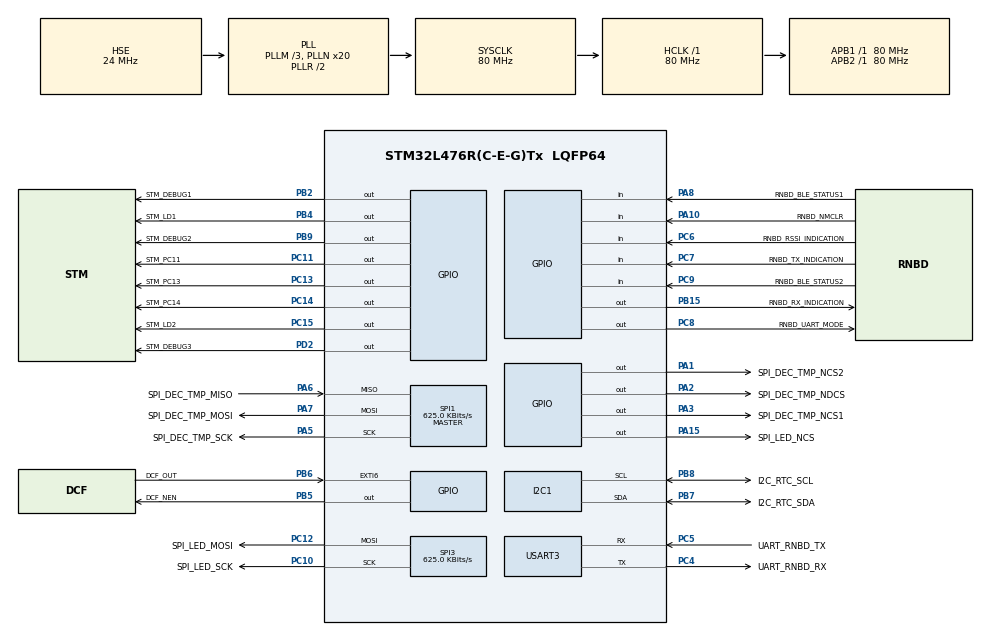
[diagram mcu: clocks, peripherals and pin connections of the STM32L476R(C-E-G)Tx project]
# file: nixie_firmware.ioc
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Dma.I2C1_RX.1.Direction=DMA_PERIPH_TO_MEMORY
Dma.I2C1_RX.1.Instance=DMA1_Channel7
Dma.I2C1_RX.1.MemDataAlignment=DMA_MDATAALIGN_BYTE
Dma.I2C1_RX.1.MemInc=DMA_MINC_ENABLE
Dma.I2C1_RX.1.Mode=DMA_NORMAL
Dma.I2C1_RX.1.PeriphDataAlignment=DMA_PDATAALIGN_BYTE
Dma.I2C1_RX.1.PeriphInc=DMA_PINC_DISABLE
Dma.I2C1_RX.1.Priority=DMA_PRIORITY_VERY_HIGH
Dma.I2C1_TX.0.Direction=DMA_MEMORY_TO_PERIPH
Dma.I2C1_TX.0.Instance=DMA1_Channel6
Dma.I2C1_TX.0.MemDataAlignment=DMA_MDATAALIGN_BYTE
Dma.I2C1_TX.0.MemInc=DMA_MINC_ENABLE
Dma.I2C1_TX.0.Mode=DMA_NORMAL
Dma.I2C1_TX.0.PeriphDataAlignment=DMA_PDATAALIGN_BYTE
Dma.I2C1_TX.0.PeriphInc=DMA_PINC_DISABLE
Dma.I2C1_TX.0.Priority=DMA_PRIORITY_VERY_HIGH
Dma.Request0=I2C1_TX
Dma.Request1=I2C1_RX
Dma.Request2=SPI1_TX
Dma.Request3=SPI1_RX
Dma.Request4=SPI3_TX
Dma.Request5=USART3_TX
Dma.Request6=USART3_RX
Dma.SPI1_RX.3.Direction=DMA_PERIPH_TO_MEMORY
Dma.SPI1_RX.3.Instance=DMA2_Channel3
Dma.SPI1_RX.3.MemDataAlignment=DMA_MDATAALIGN_HALFWORD
Dma.SPI1_RX.3.MemInc=DMA_MINC_ENABLE
Dma.SPI1_RX.3.Mode=DMA_NORMAL
Dma.SPI1_RX.3.PeriphDataAlignment=DMA_PDATAALIGN_HALFWORD
Dma.SPI1_RX.3.PeriphInc=DMA_PINC_DISABLE
Dma.SPI1_RX.3.Priority=DMA_PRIORITY_MEDIUM
Dma.SPI1_TX.2.Direction=DMA_MEMORY_TO_PERIPH
Dma.SPI1_TX.2.Instance=DMA2_Channel4
Dma.SPI1_TX.2.MemDataAlignment=DMA_MDATAALIGN_HALFWORD
Dma.SPI1_TX.2.MemInc=DMA_MINC_ENABLE
Dma.SPI1_TX.2.Mode=DMA_NORMAL
Dma.SPI1_TX.2.PeriphDataAlignment=DMA_PDATAALIGN_HALFWORD
Dma.SPI1_TX.2.PeriphInc=DMA_PINC_DISABLE
Dma.SPI1_TX.2.Priority=DMA_PRIORITY_MEDIUM
Dma.SPI3_TX.4.Direction=DMA_MEMORY_TO_PERIPH
Dma.SPI3_TX.4.Instance=DMA2_Channel2
Dma.SPI3_TX.4.MemDataAlignment=DMA_MDATAALIGN_BYTE
Dma.SPI3_TX.4.MemInc=DMA_MINC_ENABLE
Dma.SPI3_TX.4.Mode=DMA_NORMAL
Dma.SPI3_TX.4.PeriphDataAlignment=DMA_PDATAALIGN_BYTE
Dma.SPI3_TX.4.PeriphInc=DMA_PINC_DISABLE
Dma.SPI3_TX.4.Priority=DMA_PRIORITY_VERY_HIGH
Dma.USART3_RX.6.Direction=DMA_PERIPH_TO_MEMORY
Dma.USART3_RX.6.Instance=DMA1_Channel3
Dma.USART3_RX.6.MemDataAlignment=DMA_MDATAALIGN_BYTE
Dma.USART3_RX.6.MemInc=DMA_MINC_ENABLE
Dma.USART3_RX.6.Mode=DMA_NORMAL
Dma.USART3_RX.6.PeriphDataAlignment=DMA_PDATAALIGN_BYTE
Dma.USART3_RX.6.PeriphInc=DMA_PINC_DISABLE
Dma.USART3_RX.6.Priority=DMA_PRIORITY_VERY_HIGH
Dma.USART3_TX.5.Direction=DMA_MEMORY_TO_PERIPH
Dma.USART3_TX.5.Instance=DMA1_Channel2
Dma.USART3_TX.5.MemDataAlignment=DMA_MDATAALIGN_BYTE
Dma.USART3_TX.5.MemInc=DMA_MINC_ENABLE
Dma.USART3_TX.5.Mode=DMA_NORMAL
Dma.USART3_TX.5.PeriphDataAlignment=DMA_PDATAALIGN_BYTE
Dma.USART3_TX.5.PeriphInc=DMA_PINC_DISABLE
Dma.USART3_TX.5.Priority=DMA_PRIORITY_VERY_HIGH
I2C1.Speed=50
I2C1.Timing=0x306188FF
Mcu.Family=STM32L4
Mcu.Name=STM32L476R(C-E-G)Tx
Mcu.Package=LQFP64
NVIC.DMA1_Channel2_IRQn=true\:0\:0\:false\:false\:true\:false\:true\:true
NVIC.DMA1_Channel3_IRQn=true\:0\:0\:false\:false\:true\:false\:true\:true
NVIC.DMA1_Channel6_IRQn=true\:0\:0\:false\:false\:true\:false\:true\:true
NVIC.DMA1_Channel7_IRQn=true\:0\:0\:false\:false\:true\:false\:true\:true
NVIC.DMA2_Channel2_IRQn=true\:0\:0\:false\:false\:true\:false\:true\:true
NVIC.DMA2_Channel3_IRQn=true\:0\:0\:false\:false\:true\:false\:true\:true
NVIC.DMA2_Channel4_IRQn=true\:0\:0\:false\:false\:true\:false\:true\:true
NVIC.EXTI9_5_IRQn=true\:0\:0\:false\:false\:true\:true\:true\:false
NVIC.I2C1_EV_IRQn=true\:0\:0\:false\:false\:true\:true\:true\:true
NVIC.PriorityGroup=NVIC_PRIORITYGROUP_4
NVIC.SPI1_IRQn=true\:0\:0\:false\:false\:true\:true\:true\:true
NVIC.SPI3_IRQn=true\:0\:0\:false\:false\:true\:true\:true\:true
NVIC.TIM1_UP_TIM16_IRQn=true\:0\:0\:false\:false\:true\:true\:true\:true
NVIC.TIM2_IRQn=true\:0\:0\:false\:false\:true\:true\:true\:true
NVIC.USART3_IRQn=true\:0\:0\:false\:false\:true\:true\:true\:true
PA1.GPIO_Label=SPI_DEC_TMP_NCS2
PA1.GPIO_Speed=GPIO_SPEED_FREQ_VERY_HIGH
PA1.PinState=GPIO_PIN_SET
PA1.Signal=GPIO_Output
PA10.GPIO_Label=RNBD_NMCLR
PA10.Signal=GPIO_Input
PA13\ (JTMS-SWDIO).GPIO_Label=STM_SWDIO
PA13\ (JTMS-SWDIO).Mode=Trace_Asynchronous_SW
PA13\ (JTMS-SWDIO).Signal=SYS_JTMS-SWDIO
PA14\ (JTCK-SWCLK).GPIO_Label=STM_SWCLK
PA14\ (JTCK-SWCLK).Mode=Trace_Asynchronous_SW
PA14\ (JTCK-SWCLK).Signal=SYS_JTCK-SWCLK
PA15\ (JTDI).GPIO_Label=SPI_LED_NCS
PA15\ (JTDI).GPIO_Speed=GPIO_SPEED_FREQ_VERY_HIGH
PA15\ (JTDI).PinState=GPIO_PIN_SET
PA15\ (JTDI).Signal=GPIO_Output
PA2.GPIO_Label=SPI_DEC_TMP_NDCS
PA2.GPIO_Speed=GPIO_SPEED_FREQ_VERY_HIGH
PA2.PinState=GPIO_PIN_SET
PA2.Signal=GPIO_Output
PA3.GPIO_Label=SPI_DEC_TMP_NCS1
PA3.GPIO_Speed=GPIO_SPEED_FREQ_VERY_HIGH
PA3.PinState=GPIO_PIN_SET
PA3.Signal=GPIO_Output
PA5.GPIO_Label=SPI_DEC_TMP_SCK
PA5.Mode=Full_Duplex_Master
PA5.Signal=SPI1_SCK
PA6.GPIO_Label=SPI_DEC_TMP_MISO
PA6.Mode=Full_Duplex_Master
PA6.Signal=SPI1_MISO
PA7.GPIO_Label=SPI_DEC_TMP_MOSI
PA7.Mode=Full_Duplex_Master
PA7.Signal=SPI1_MOSI
PA8.GPIO_Label=RNBD_BLE_STATUS1
PA8.Signal=GPIO_Input
PB15.GPIO_Label=RNBD_RX_INDICATION
PB15.GPIO_Speed=GPIO_SPEED_FREQ_VERY_HIGH
PB15.PinState=GPIO_PIN_SET
PB15.Signal=GPIO_Output
PB2.GPIO_Label=STM_DEBUG1
PB2.GPIO_Speed=GPIO_SPEED_FREQ_VERY_HIGH
PB2.Signal=GPIO_Output
PB3\ (JTDO-TRACESWO).GPIO_Label=STM_SWO
PB3\ (JTDO-TRACESWO).Mode=Trace_Asynchronous_SW
PB3\ (JTDO-TRACESWO).Signal=SYS_JTDO-SWO
PB4\ (NJTRST).GPIO_Label=STM_LD1
PB4\ (NJTRST).GPIO_Speed=GPIO_SPEED_FREQ_VERY_HIGH
PB4\ (NJTRST).PinState=GPIO_PIN_RESET
PB4\ (NJTRST).Signal=GPIO_Output
PB5.GPIO_Label=DCF_NEN
PB5.GPIO_Speed=GPIO_SPEED_FREQ_VERY_HIGH
PB5.Signal=GPIO_Output
PB6.GPIO_Label=DCF_OUT
PB6.GPIO_ModeDefaultEXTI=GPIO_MODE_IT_RISING_FALLING
PB6.Signal=GPXTI6
PB7.GPIO_Label=I2C_RTC_SDA
PB7.Mode=I2C
PB7.Signal=I2C1_SDA
PB8.GPIO_Label=I2C_RTC_SCL
PB8.Mode=I2C
PB8.Signal=I2C1_SCL
PB9.GPIO_Label=STM_DEBUG2
PB9.GPIO_Speed=GPIO_SPEED_FREQ_VERY_HIGH
PB9.Signal=GPIO_Output
PC10.GPIO_Label=SPI_LED_SCK
PC10.Mode=TX_Only_Simplex_Unidirect_Master
PC10.Signal=SPI3_SCK
PC11.GPIO_Label=STM_PC11
PC11.GPIO_Speed=GPIO_SPEED_FREQ_VERY_HIGH
PC11.Signal=GPIO_Output
PC12.GPIO_Label=SPI_LED_MOSI
PC12.Mode=TX_Only_Simplex_Unidirect_Master
PC12.Signal=SPI3_MOSI
PC13.GPIO_Label=STM_PC13
PC13.Signal=GPIO_Output
PC14-OSC32_IN\ (PC14).GPIO_Label=STM_PC14
PC14-OSC32_IN\ (PC14).GPIO_Speed=GPIO_SPEED_FREQ_LOW
PC14-OSC32_IN\ (PC14).Signal=GPIO_Output
PC15-OSC32_OUT\ (PC15).GPIO_Label=STM_LD2
PC15-OSC32_OUT\ (PC15).Signal=GPIO_Output
PC4.GPIO_Label=UART_RNBD_RX
PC4.GPIO_PuPd=GPIO_NOPULL
PC4.GPIO_Speed=GPIO_SPEED_FREQ_MEDIUM
PC4.Mode=Asynchronous
PC4.Signal=USART3_TX
PC5.GPIO_Label=UART_RNBD_TX
PC5.GPIO_PuPd=GPIO_NOPULL
PC5.GPIO_Speed=GPIO_SPEED_FREQ_MEDIUM
PC5.Mode=Asynchronous
PC5.Signal=USART3_RX
PC6.GPIO_Label=RNBD_RSSI_INDICATION
PC6.Signal=GPIO_Input
PC7.GPIO_Label=RNBD_TX_INDICATION
PC7.Signal=GPIO_Input
PC8.GPIO_Label=RNBD_UART_MODE
PC8.GPIO_Speed=GPIO_SPEED_FREQ_VERY_HIGH
PC8.PinState=GPIO_PIN_SET
PC8.Signal=GPIO_Output
PC9.GPIO_Label=RNBD_BLE_STATUS2
PC9.Signal=GPIO_Input
PD2.GPIO_Label=STM_DEBUG3
PD2.GPIO_Speed=GPIO_SPEED_FREQ_VERY_HIGH
PD2.Signal=GPIO_Output
PH0-OSC_IN\ (PH0).GPIO_Label=STM_HSE_IN
PH0-OSC_IN\ (PH0).Mode=HSE-External-Oscillator
PH0-OSC_IN\ (PH0).Signal=RCC_OSC_IN
PH1-OSC_OUT\ (PH1).GPIO_Label=STM_HSE_OUT
PH1-OSC_OUT\ (PH1).Mode=HSE-External-Oscillator
PH1-OSC_OUT\ (PH1).Signal=RCC_OSC_OUT
ProjectManager.HeapSize=0x200
ProjectManager.StackSize=0x400
ProjectManager.TargetToolchain=STM32CubeIDE
RCC.ADCFreq_Value=32000000
RCC.AHBFreq_Value=80000000
RCC.APB1Freq_Value=80000000
RCC.APB1TimFreq_Value=80000000
RCC.APB2Freq_Value=80000000
RCC.APB2TimFreq_Value=80000000
RCC.CortexFreq_Value=80000000
RCC.HCLKFreq_Value=80000000
RCC.HSE_VALUE=24000000
RCC.HSI_VALUE=16000000
RCC.LSE_VALUE=32768
RCC.MSI_VALUE=4000000
RCC.PLLM=3
RCC.PLLN=20
RCC.PLLSourceVirtual=RCC_PLLSOURCE_HSE
RCC.SYSCLKFreq_VALUE=80000000
RCC.SYSCLKSource=RCC_SYSCLKSOURCE_PLLCLK
RCC.USBFreq_Value=32000000
RCC.VCOOutputFreq_Value=160000000
SPI1.BaudRatePrescaler=SPI_BAUDRATEPRESCALER_128
SPI1.CalculateBaudRate=625.0 KBits/s
SPI1.DataSize=SPI_DATASIZE_16BIT
SPI1.Direction=SPI_DIRECTION_2LINES
SPI1.Mode=SPI_MODE_MASTER
SPI1.VirtualType=VM_MASTER
SPI3.BaudRatePrescaler=SPI_BAUDRATEPRESCALER_128
SPI3.CalculateBaudRate=625.0 KBits/s
SPI3.DataSize=SPI_DATASIZE_8BIT
SPI3.Direction=SPI_DIRECTION_2LINES
SPI3.Mode=SPI_MODE_MASTER
SPI3.VirtualType=VM_MASTER
TIM1.Channel-Output\ Compare1\ No\ Output=TIM_CHANNEL_1
TIM1.Period=1000 - 1
TIM1.Prescaler=800 - 1
TIM1.TIM_MasterOutputTrigger=TIM_TRGO_UPDATE
TIM2.Channel-Output\ Compare1\ No\ Output=TIM_CHANNEL_1
TIM2.Period=260000000
TIM2.Prescaler=80 - 1
TIM2.TIM_MasterOutputTrigger=TIM_TRGO_UPDATE
USART3.VirtualMode-Asynchronous=VM_ASYNC
VP_TIM1_VS_ClockSourceINT.Mode=Internal
VP_TIM1_VS_no_output1.Mode=Output Compare1 No Output
VP_TIM2_VS_ClockSourceINT.Mode=Internal
VP_TIM2_VS_no_output1.Mode=Output Compare1 No Output
board=custom

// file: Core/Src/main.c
/* USER CODE BEGIN Header */
/**
  ******************************************************************************
  * @file           : main.c
  * @brief          : Main program body
  ******************************************************************************
  * @attention
  *
  * Copyright (c) 2026 STMicroelectronics.
  * All rights reserved.
  *
  * This software is licensed under terms that can be found in the LICENSE file
  * in the root directory of this software component.
  * If no LICENSE file comes with this software, it is provided AS-IS.
  *
  ******************************************************************************
  */
/* USER CODE END Header */
#include "main.h"

/* USER CODE BEGIN Includes */
#include <string.h>
#include "control.h"
#include "rtc_ds1307.h"
#include "tmp126.h"
//#include "led_driver.h"
#include "dcf77.h"
#include "rnbd451.h"
/* USER CODE END Includes */

I2C_HandleTypeDef hi2c1;
DMA_HandleTypeDef hdma_i2c1_tx;
DMA_HandleTypeDef hdma_i2c1_rx;

SPI_HandleTypeDef hspi1;
SPI_HandleTypeDef hspi3;
DMA_HandleTypeDef hdma_spi1_tx;
DMA_HandleTypeDef hdma_spi1_rx;
DMA_HandleTypeDef hdma_spi3_tx;

TIM_HandleTypeDef htim1;
TIM_HandleTypeDef htim2;

UART_HandleTypeDef huart3;
DMA_HandleTypeDef hdma_usart3_tx;
DMA_HandleTypeDef hdma_usart3_rx;

/* USER CODE BEGIN PV */
control_t ctrl;
rtc_t rtc;
TMP126_t tmp126;
dcf77_t dcf77;
rnbd451_t rnbd451;
/* USER CODE END PV */

void SystemClock_Config(void);
static void MX_GPIO_Init(void);
static void MX_DMA_Init(void);
static void MX_I2C1_Init(void);
static void MX_SPI1_Init(void);
static void MX_SPI3_Init(void);
static void MX_TIM1_Init(void);
static void MX_TIM2_Init(void);
static void MX_USART3_UART_Init(void);

/* USER CODE BEGIN 0 */
void HAL_TIM_PeriodElapsedCallback(TIM_HandleTypeDef *htim)
{
  if (htim == rtc.htim)
  {
    rtc_getTime(&rtc);
  }
  if (htim == dcf77.htim)
  {
	dcf77_timeout(&dcf77);
  }
}

void HAL_GPIO_EXTI_Callback(uint16_t GPIO_Pin)
{
  if (GPIO_Pin == dcf77.dcf_out_pin)
  {
	dcf77_EXTI_callback(&dcf77);
  }
}

void HAL_I2C_MemRxCpltCallback(I2C_HandleTypeDef *hi2c)
{
  if (hi2c == rtc.hi2c)
  {
	rtc_I2C_Mem_Read_callback(&rtc, &tmp126, &rnbd451);
  }
}

void HAL_SPI_TxCpltCallback(SPI_HandleTypeDef *hspi)
{
  if (hspi == tmp126.SPI)
  {
	TMP126_SPI_Transmit_callback(&tmp126);
  }
}

void HAL_SPI_RxCpltCallback(SPI_HandleTypeDef *hspi)
{
  if (hspi == tmp126.SPI)
  {
	TMP126_SPI_Receive_callback(&tmp126);
  }
}
/* USER CODE END 0 */

int main(void)
{

  /* MCU Configuration--------------------------------------------------------*/

  /* Reset of all peripherals, Initializes the Flash interface and the Systick. */
  HAL_Init();

  /* Configure the system clock */
  SystemClock_Config();

  /* Initialize all configured peripherals */
  MX_GPIO_Init();
  MX_DMA_Init();
  MX_I2C1_Init();
  MX_SPI1_Init();
  MX_SPI3_Init();
  MX_TIM1_Init();
  MX_TIM2_Init();
  MX_USART3_UART_Init();
  /* USER CODE BEGIN 2 */
  control_init(&ctrl);
  rtc_init(&rtc, &htim1, &hi2c1, &hdma_i2c1_rx, &hdma_i2c1_tx);
  TMP126_init(&tmp126, &hspi1, SPI_DEC_TMP_NCS2_GPIO_Port, SPI_DEC_TMP_NCS2_Pin);
  TMP126_Configuration(&tmp126);
  rnbd451_init(&rnbd451, &huart3, RNBD_UART_MODE_GPIO_Port, RNBD_UART_MODE_Pin, RNBD_NMCLR_GPIO_Port, RNBD_NMCLR_Pin, RNBD_BLE_STATUS1_GPIO_Port, RNBD_BLE_STATUS1_Pin, RNBD_BLE_STATUS2_GPIO_Port, RNBD_BLE_STATUS2_Pin, RNBD_TX_INDICATION_GPIO_Port, RNBD_TX_INDICATION_Pin, RNBD_RX_INDICATION_GPIO_Port, RNBD_RX_INDICATION_Pin, RNBD_RSSI_INDICATION_GPIO_Port, RNBD_RSSI_INDICATION_Pin);
  /* USER CODE END 2 */

  /* Infinite loop */
  /* USER CODE BEGIN WHILE */
  while (1)
  {
	TMP126_ReadTemperature(&tmp126);
    /* USER CODE END WHILE */

  }
}

void SystemClock_Config(void)
{
  RCC_OscInitTypeDef RCC_OscInitStruct = {0};
  RCC_ClkInitTypeDef RCC_ClkInitStruct = {0};

  /** Configure the main internal regulator output voltage
  */
  if (HAL_PWREx_ControlVoltageScaling(PWR_REGULATOR_VOLTAGE_SCALE1) != HAL_OK)
  {
    Error_Handler();
  }

  /** Initializes the RCC Oscillators according to the specified parameters
  * in the RCC_OscInitTypeDef structure.
  */
  RCC_OscInitStruct.OscillatorType = RCC_OSCILLATORTYPE_HSE;
  RCC_OscInitStruct.HSEState = RCC_HSE_ON;
  RCC_OscInitStruct.PLL.PLLState = RCC_PLL_ON;
  RCC_OscInitStruct.PLL.PLLSource = RCC_PLLSOURCE_HSE;
  RCC_OscInitStruct.PLL.PLLM = 3;
  RCC_OscInitStruct.PLL.PLLN = 20;
  RCC_OscInitStruct.PLL.PLLP = RCC_PLLP_DIV7;
  RCC_OscInitStruct.PLL.PLLQ = RCC_PLLQ_DIV2;
  RCC_OscInitStruct.PLL.PLLR = RCC_PLLR_DIV2;
  if (HAL_RCC_OscConfig(&RCC_OscInitStruct) != HAL_OK)
  {
    Error_Handler();
  }

  /** Initializes the CPU, AHB and APB buses clocks
  */
  RCC_ClkInitStruct.ClockType = RCC_CLOCKTYPE_HCLK|RCC_CLOCKTYPE_SYSCLK
                              |RCC_CLOCKTYPE_PCLK1|RCC_CLOCKTYPE_PCLK2;
  RCC_ClkInitStruct.SYSCLKSource = RCC_SYSCLKSOURCE_PLLCLK;
  RCC_ClkInitStruct.AHBCLKDivider = RCC_SYSCLK_DIV1;
  RCC_ClkInitStruct.APB1CLKDivider = RCC_HCLK_DIV1;
  RCC_ClkInitStruct.APB2CLKDivider = RCC_HCLK_DIV1;

  if (HAL_RCC_ClockConfig(&RCC_ClkInitStruct, FLASH_LATENCY_4) != HAL_OK)
  {
    Error_Handler();
  }
}

static void MX_I2C1_Init(void)
{

  hi2c1.Instance = I2C1;
  hi2c1.Init.Timing = 0x306188FF;
  hi2c1.Init.OwnAddress1 = 0;
  hi2c1.Init.AddressingMode = I2C_ADDRESSINGMODE_7BIT;
  hi2c1.Init.DualAddressMode = I2C_DUALADDRESS_DISABLE;
  hi2c1.Init.OwnAddress2 = 0;
  hi2c1.Init.OwnAddress2Masks = I2C_OA2_NOMASK;
  hi2c1.Init.GeneralCallMode = I2C_GENERALCALL_DISABLE;
  hi2c1.Init.NoStretchMode = I2C_NOSTRETCH_DISABLE;
  if (HAL_I2C_Init(&hi2c1) != HAL_OK)
  {
    Error_Handler();
  }

  /** Configure Analogue filter
  */
  if (HAL_I2CEx_ConfigAnalogFilter(&hi2c1, I2C_ANALOGFILTER_ENABLE) != HAL_OK)
  {
    Error_Handler();
  }

  /** Configure Digital filter
  */
  if (HAL_I2CEx_ConfigDigitalFilter(&hi2c1, 0) != HAL_OK)
  {
    Error_Handler();
  }

}

static void MX_SPI1_Init(void)
{

  /* SPI1 parameter configuration*/
  hspi1.Instance = SPI1;
  hspi1.Init.Mode = SPI_MODE_MASTER;
  hspi1.Init.Direction = SPI_DIRECTION_2LINES;
  hspi1.Init.DataSize = SPI_DATASIZE_16BIT;
  hspi1.Init.CLKPolarity = SPI_POLARITY_LOW;
  hspi1.Init.CLKPhase = SPI_PHASE_1EDGE;
  hspi1.Init.NSS = SPI_NSS_SOFT;
  hspi1.Init.BaudRatePrescaler = SPI_BAUDRATEPRESCALER_128;
  hspi1.Init.FirstBit = SPI_FIRSTBIT_MSB;
  hspi1.Init.TIMode = SPI_TIMODE_DISABLE;
  hspi1.Init.CRCCalculation = SPI_CRCCALCULATION_DISABLE;
  hspi1.Init.CRCPolynomial = 7;
  hspi1.Init.CRCLength = SPI_CRC_LENGTH_DATASIZE;
  hspi1.Init.NSSPMode = SPI_NSS_PULSE_ENABLE;
  if (HAL_SPI_Init(&hspi1) != HAL_OK)
  {
    Error_Handler();
  }

}

static void MX_SPI3_Init(void)
{

  /* SPI3 parameter configuration*/
  hspi3.Instance = SPI3;
  hspi3.Init.Mode = SPI_MODE_MASTER;
  hspi3.Init.Direction = SPI_DIRECTION_2LINES;
  hspi3.Init.DataSize = SPI_DATASIZE_8BIT;
  hspi3.Init.CLKPolarity = SPI_POLARITY_LOW;
  hspi3.Init.CLKPhase = SPI_PHASE_1EDGE;
  hspi3.Init.NSS = SPI_NSS_SOFT;
  hspi3.Init.BaudRatePrescaler = SPI_BAUDRATEPRESCALER_128;
  hspi3.Init.FirstBit = SPI_FIRSTBIT_MSB;
  hspi3.Init.TIMode = SPI_TIMODE_DISABLE;
  hspi3.Init.CRCCalculation = SPI_CRCCALCULATION_DISABLE;
  hspi3.Init.CRCPolynomial = 7;
  hspi3.Init.CRCLength = SPI_CRC_LENGTH_DATASIZE;
  hspi3.Init.NSSPMode = SPI_NSS_PULSE_ENABLE;
  if (HAL_SPI_Init(&hspi3) != HAL_OK)
  {
    Error_Handler();
  }

}

static void MX_TIM1_Init(void)
{

  TIM_ClockConfigTypeDef sClockSourceConfig = {0};
  TIM_MasterConfigTypeDef sMasterConfig = {0};
  TIM_OC_InitTypeDef sConfigOC = {0};
  TIM_BreakDeadTimeConfigTypeDef sBreakDeadTimeConfig = {0};

  htim1.Instance = TIM1;
  htim1.Init.Prescaler = 800 - 1;
  htim1.Init.CounterMode = TIM_COUNTERMODE_UP;
  htim1.Init.Period = 1000 - 1;
  htim1.Init.ClockDivision = TIM_CLOCKDIVISION_DIV1;
  htim1.Init.RepetitionCounter = 0;
  htim1.Init.AutoReloadPreload = TIM_AUTORELOAD_PRELOAD_DISABLE;
  if (HAL_TIM_Base_Init(&htim1) != HAL_OK)
  {
    Error_Handler();
  }
  sClockSourceConfig.ClockSource = TIM_CLOCKSOURCE_INTERNAL;
  if (HAL_TIM_ConfigClockSource(&htim1, &sClockSourceConfig) != HAL_OK)
  {
    Error_Handler();
  }
  if (HAL_TIM_OC_Init(&htim1) != HAL_OK)
  {
    Error_Handler();
  }
  sMasterConfig.MasterOutputTrigger = TIM_TRGO_UPDATE;
  sMasterConfig.MasterOutputTrigger2 = TIM_TRGO2_RESET;
  sMasterConfig.MasterSlaveMode = TIM_MASTERSLAVEMODE_DISABLE;
  if (HAL_TIMEx_MasterConfigSynchronization(&htim1, &sMasterConfig) != HAL_OK)
  {
    Error_Handler();
  }
  sConfigOC.OCMode = TIM_OCMODE_TIMING;
  sConfigOC.Pulse = 0;
  sConfigOC.OCPolarity = TIM_OCPOLARITY_HIGH;
  sConfigOC.OCNPolarity = TIM_OCNPOLARITY_HIGH;
  sConfigOC.OCFastMode = TIM_OCFAST_DISABLE;
  sConfigOC.OCIdleState = TIM_OCIDLESTATE_RESET;
  sConfigOC.OCNIdleState = TIM_OCNIDLESTATE_RESET;
  if (HAL_TIM_OC_ConfigChannel(&htim1, &sConfigOC, TIM_CHANNEL_1) != HAL_OK)
  {
    Error_Handler();
  }
  sBreakDeadTimeConfig.OffStateRunMode = TIM_OSSR_DISABLE;
  sBreakDeadTimeConfig.OffStateIDLEMode = TIM_OSSI_DISABLE;
  sBreakDeadTimeConfig.LockLevel = TIM_LOCKLEVEL_OFF;
  sBreakDeadTimeConfig.DeadTime = 0;
  sBreakDeadTimeConfig.BreakState = TIM_BREAK_DISABLE;
  sBreakDeadTimeConfig.BreakPolarity = TIM_BREAKPOLARITY_HIGH;
  sBreakDeadTimeConfig.BreakFilter = 0;
  sBreakDeadTimeConfig.Break2State = TIM_BREAK2_DISABLE;
  sBreakDeadTimeConfig.Break2Polarity = TIM_BREAK2POLARITY_HIGH;
  sBreakDeadTimeConfig.Break2Filter = 0;
  sBreakDeadTimeConfig.AutomaticOutput = TIM_AUTOMATICOUTPUT_DISABLE;
  if (HAL_TIMEx_ConfigBreakDeadTime(&htim1, &sBreakDeadTimeConfig) != HAL_OK)
  {
    Error_Handler();
  }

}

static void MX_TIM2_Init(void)
{

  TIM_ClockConfigTypeDef sClockSourceConfig = {0};
  TIM_MasterConfigTypeDef sMasterConfig = {0};
  TIM_OC_InitTypeDef sConfigOC = {0};

  htim2.Instance = TIM2;
  htim2.Init.Prescaler = 80 - 1;
  htim2.Init.CounterMode = TIM_COUNTERMODE_UP;
  htim2.Init.Period = 260000000;
  htim2.Init.ClockDivision = TIM_CLOCKDIVISION_DIV1;
  htim2.Init.AutoReloadPreload = TIM_AUTORELOAD_PRELOAD_DISABLE;
  if (HAL_TIM_Base_Init(&htim2) != HAL_OK)
  {
    Error_Handler();
  }
  sClockSourceConfig.ClockSource = TIM_CLOCKSOURCE_INTERNAL;
  if (HAL_TIM_ConfigClockSource(&htim2, &sClockSourceConfig) != HAL_OK)
  {
    Error_Handler();
  }
  if (HAL_TIM_OC_Init(&htim2) != HAL_OK)
  {
    Error_Handler();
  }
  sMasterConfig.MasterOutputTrigger = TIM_TRGO_UPDATE;
  sMasterConfig.MasterSlaveMode = TIM_MASTERSLAVEMODE_DISABLE;
  if (HAL_TIMEx_MasterConfigSynchronization(&htim2, &sMasterConfig) != HAL_OK)
  {
    Error_Handler();
  }
  sConfigOC.OCMode = TIM_OCMODE_TIMING;
  sConfigOC.Pulse = 0;
  sConfigOC.OCPolarity = TIM_OCPOLARITY_HIGH;
  sConfigOC.OCFastMode = TIM_OCFAST_DISABLE;
  if (HAL_TIM_OC_ConfigChannel(&htim2, &sConfigOC, TIM_CHANNEL_1) != HAL_OK)
  {
    Error_Handler();
  }

}

static void MX_USART3_UART_Init(void)
{

  huart3.Instance = USART3;
  huart3.Init.BaudRate = 115200;
  huart3.Init.WordLength = UART_WORDLENGTH_8B;
  huart3.Init.StopBits = UART_STOPBITS_1;
  huart3.Init.Parity = UART_PARITY_NONE;
  huart3.Init.Mode = UART_MODE_TX_RX;
  huart3.Init.HwFlowCtl = UART_HWCONTROL_NONE;
  huart3.Init.OverSampling = UART_OVERSAMPLING_16;
  huart3.Init.OneBitSampling = UART_ONE_BIT_SAMPLE_DISABLE;
  huart3.AdvancedInit.AdvFeatureInit = UART_ADVFEATURE_NO_INIT;
  if (HAL_UART_Init(&huart3) != HAL_OK)
  {
    Error_Handler();
  }

}

static void MX_DMA_Init(void)
{

  /* DMA controller clock enable */
  __HAL_RCC_DMA1_CLK_ENABLE();
  __HAL_RCC_DMA2_CLK_ENABLE();

  /* DMA interrupt init */
  /* DMA1_Channel2_IRQn interrupt configuration */
  HAL_NVIC_SetPriority(DMA1_Channel2_IRQn, 0, 0);
  HAL_NVIC_EnableIRQ(DMA1_Channel2_IRQn);
  /* DMA1_Channel3_IRQn interrupt configuration */
  HAL_NVIC_SetPriority(DMA1_Channel3_IRQn, 0, 0);
  HAL_NVIC_EnableIRQ(DMA1_Channel3_IRQn);
  /* DMA1_Channel6_IRQn interrupt configuration */
  HAL_NVIC_SetPriority(DMA1_Channel6_IRQn, 0, 0);
  HAL_NVIC_EnableIRQ(DMA1_Channel6_IRQn);
  /* DMA1_Channel7_IRQn interrupt configuration */
  HAL_NVIC_SetPriority(DMA1_Channel7_IRQn, 0, 0);
  HAL_NVIC_EnableIRQ(DMA1_Channel7_IRQn);
  /* DMA2_Channel2_IRQn interrupt configuration */
  HAL_NVIC_SetPriority(DMA2_Channel2_IRQn, 0, 0);
  HAL_NVIC_EnableIRQ(DMA2_Channel2_IRQn);
  /* DMA2_Channel3_IRQn interrupt configuration */
  HAL_NVIC_SetPriority(DMA2_Channel3_IRQn, 0, 0);
  HAL_NVIC_EnableIRQ(DMA2_Channel3_IRQn);
  /* DMA2_Channel4_IRQn interrupt configuration */
  HAL_NVIC_SetPriority(DMA2_Channel4_IRQn, 0, 0);
  HAL_NVIC_EnableIRQ(DMA2_Channel4_IRQn);

}

static void MX_GPIO_Init(void)
{
  GPIO_InitTypeDef GPIO_InitStruct = {0};

  /* GPIO Ports Clock Enable */
  __HAL_RCC_GPIOC_CLK_ENABLE();
  __HAL_RCC_GPIOH_CLK_ENABLE();
  __HAL_RCC_GPIOA_CLK_ENABLE();
  __HAL_RCC_GPIOB_CLK_ENABLE();
  __HAL_RCC_GPIOD_CLK_ENABLE();

  /*Configure GPIO pin Output Level */
  HAL_GPIO_WritePin(GPIOC, STM_PC13_Pin|STM_PC14_Pin|STM_LD2_Pin|STM_PC11_Pin, GPIO_PIN_RESET);

  /*Configure GPIO pin Output Level */
  HAL_GPIO_WritePin(GPIOA, SPI_DEC_TMP_NCS2_Pin|SPI_DEC_TMP_NDCS_Pin|SPI_DEC_TMP_NCS1_Pin|SPI_LED_NCS_Pin, GPIO_PIN_SET);

  /*Configure GPIO pin Output Level */
  HAL_GPIO_WritePin(GPIOB, STM_DEBUG1_Pin|STM_LD1_Pin|DCF_NEN_Pin|STM_DEBUG2_Pin, GPIO_PIN_RESET);

  /*Configure GPIO pin Output Level */
  HAL_GPIO_WritePin(RNBD_RX_INDICATION_GPIO_Port, RNBD_RX_INDICATION_Pin, GPIO_PIN_SET);

  /*Configure GPIO pin Output Level */
  HAL_GPIO_WritePin(RNBD_UART_MODE_GPIO_Port, RNBD_UART_MODE_Pin, GPIO_PIN_SET);

  /*Configure GPIO pin Output Level */
  HAL_GPIO_WritePin(STM_DEBUG3_GPIO_Port, STM_DEBUG3_Pin, GPIO_PIN_RESET);

  /*Configure GPIO pins : STM_PC13_Pin STM_PC14_Pin STM_LD2_Pin */
  GPIO_InitStruct.Pin = STM_PC13_Pin|STM_PC14_Pin|STM_LD2_Pin;
  GPIO_InitStruct.Mode = GPIO_MODE_OUTPUT_PP;
  GPIO_InitStruct.Pull = GPIO_NOPULL;
  GPIO_InitStruct.Speed = GPIO_SPEED_FREQ_LOW;
  HAL_GPIO_Init(GPIOC, &GPIO_InitStruct);

  /*Configure GPIO pins : SPI_DEC_TMP_NCS2_Pin SPI_DEC_TMP_NDCS_Pin SPI_DEC_TMP_NCS1_Pin SPI_LED_NCS_Pin */
  GPIO_InitStruct.Pin = SPI_DEC_TMP_NCS2_Pin|SPI_DEC_TMP_NDCS_Pin|SPI_DEC_TMP_NCS1_Pin|SPI_LED_NCS_Pin;
  GPIO_InitStruct.Mode = GPIO_MODE_OUTPUT_PP;
  GPIO_InitStruct.Pull = GPIO_NOPULL;
  GPIO_InitStruct.Speed = GPIO_SPEED_FREQ_VERY_HIGH;
  HAL_GPIO_Init(GPIOA, &GPIO_InitStruct);

  /*Configure GPIO pins : STM_DEBUG1_Pin RNBD_RX_INDICATION_Pin STM_LD1_Pin DCF_NEN_Pin
                           STM_DEBUG2_Pin */
  GPIO_InitStruct.Pin = STM_DEBUG1_Pin|RNBD_RX_INDICATION_Pin|STM_LD1_Pin|DCF_NEN_Pin
                          |STM_DEBUG2_Pin;
  GPIO_InitStruct.Mode = GPIO_MODE_OUTPUT_PP;
  GPIO_InitStruct.Pull = GPIO_NOPULL;
  GPIO_InitStruct.Speed = GPIO_SPEED_FREQ_VERY_HIGH;
  HAL_GPIO_Init(GPIOB, &GPIO_InitStruct);

  /*Configure GPIO pins : RNBD_RSSI_INDICATION_Pin RNBD_TX_INDICATION_Pin RNBD_BLE_STATUS2_Pin */
  GPIO_InitStruct.Pin = RNBD_RSSI_INDICATION_Pin|RNBD_TX_INDICATION_Pin|RNBD_BLE_STATUS2_Pin;
  GPIO_InitStruct.Mode = GPIO_MODE_INPUT;
  GPIO_InitStruct.Pull = GPIO_NOPULL;
  HAL_GPIO_Init(GPIOC, &GPIO_InitStruct);

  /*Configure GPIO pins : RNBD_UART_MODE_Pin STM_PC11_Pin */
  GPIO_InitStruct.Pin = RNBD_UART_MODE_Pin|STM_PC11_Pin;
  GPIO_InitStruct.Mode = GPIO_MODE_OUTPUT_PP;
  GPIO_InitStruct.Pull = GPIO_NOPULL;
  GPIO_InitStruct.Speed = GPIO_SPEED_FREQ_VERY_HIGH;
  HAL_GPIO_Init(GPIOC, &GPIO_InitStruct);

  /*Configure GPIO pins : RNBD_BLE_STATUS1_Pin RNBD_NMCLR_Pin */
  GPIO_InitStruct.Pin = RNBD_BLE_STATUS1_Pin|RNBD_NMCLR_Pin;
  GPIO_InitStruct.Mode = GPIO_MODE_INPUT;
  GPIO_InitStruct.Pull = GPIO_NOPULL;
  HAL_GPIO_Init(GPIOA, &GPIO_InitStruct);

  /*Configure GPIO pin : STM_DEBUG3_Pin */
  GPIO_InitStruct.Pin = STM_DEBUG3_Pin;
  GPIO_InitStruct.Mode = GPIO_MODE_OUTPUT_PP;
  GPIO_InitStruct.Pull = GPIO_NOPULL;
  GPIO_InitStruct.Speed = GPIO_SPEED_FREQ_VERY_HIGH;
  HAL_GPIO_Init(STM_DEBUG3_GPIO_Port, &GPIO_InitStruct);

  /*Configure GPIO pin : DCF_OUT_Pin */
  GPIO_InitStruct.Pin = DCF_OUT_Pin;
  GPIO_InitStruct.Mode = GPIO_MODE_IT_RISING_FALLING;
  GPIO_InitStruct.Pull = GPIO_NOPULL;
  HAL_GPIO_Init(DCF_OUT_GPIO_Port, &GPIO_InitStruct);

  /* EXTI interrupt init*/
  HAL_NVIC_SetPriority(EXTI9_5_IRQn, 0, 0);

}

void Error_Handler(void)
{
  __disable_irq();
  while (1)
  {
  }
}
